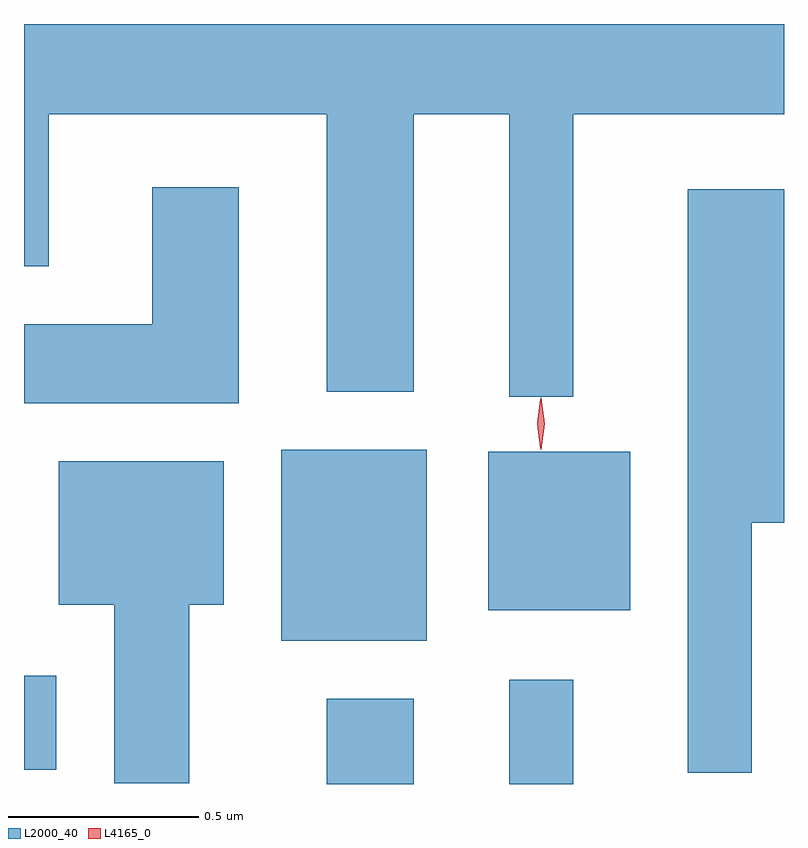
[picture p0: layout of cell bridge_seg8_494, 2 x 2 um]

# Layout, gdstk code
import gdstk
lib = gdstk.Library(unit=1e-6, precision=1e-09)
def R(c, l, rs):  # rectangles x0, y0, x1, y1
    for r in rs: c.add(gdstk.rectangle(r[:2], r[2:], *l))
def P(c, l, *ps):  # polygons
    for p in ps: c.add(gdstk.Polygon(p, *l))
L2000_40 = (2000, 40)
L4165_0 = (4165, 0)

bridge_seg8_494 = lib.new_cell('bridge_seg8_494')
R(bridge_seg8_494, L2000_40, [(228.191,1876.834,228.419,1877.059), (228.671,1876.834,228.839,1877.108), (227.394,1876.871,227.479,1877.119), (228.071,1877.211,228.454,1877.714), (228.616,1877.291,228.989,1877.709)])
P(bridge_seg8_494, L2000_40, [(227.394,1878.196),(227.459,1878.196),(227.459,1878.596),(228.191,1878.596),(228.191,1877.866),(228.419,1877.866),(228.419,1878.596),(228.671,1878.596),(228.671,1877.853),(228.839,1877.853),(228.839,1878.596),(229.394,1878.596),(229.394,1878.834),(227.394,1878.834)],
  [(227.959,1878.404),(227.731,1878.404),(227.731,1878.044),(227.394,1878.044),(227.394,1877.836),(227.959,1877.836)],
  [(229.309,1877.521),(229.394,1877.521),(229.394,1878.399),(229.141,1878.399),(229.141,1876.863),(229.309,1876.863)],
  [(227.829,1877.306),(227.919,1877.306),(227.919,1877.684),(227.486,1877.684),(227.486,1877.306),(227.631,1877.306),(227.631,1876.836),(227.829,1876.836)])
P(bridge_seg8_494, L4165_0, [(228.754,1877.714),(228.754,1877.714),(228.744,1877.782),(228.754,1877.85),(228.754,1877.85),(228.755,1877.85),(228.764,1877.782),(228.755,1877.714)],
  [(228.753,1877.718),(228.753,1877.718),(228.744,1877.782),(228.753,1877.846),(228.753,1877.847),(228.754,1877.846),(228.763,1877.782),(228.754,1877.718)])

lib.write_gds('bridge_seg8_494.gds')
